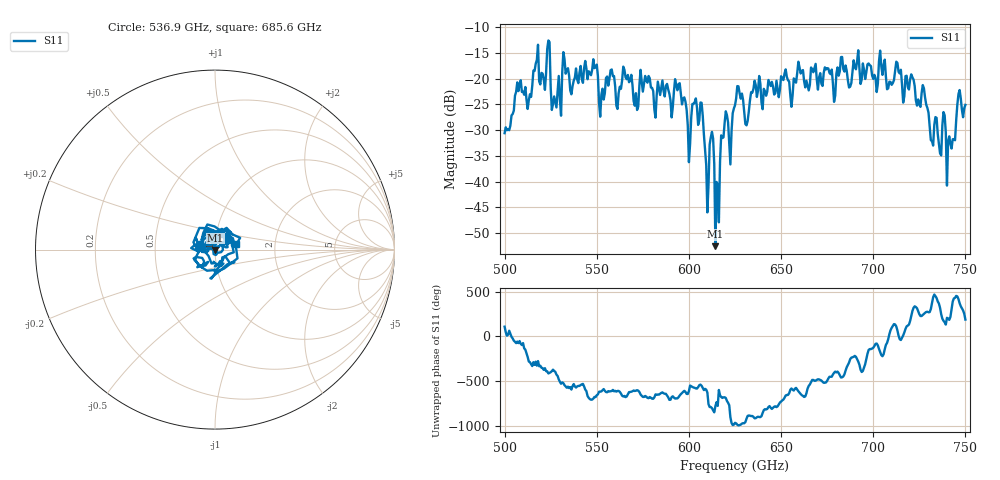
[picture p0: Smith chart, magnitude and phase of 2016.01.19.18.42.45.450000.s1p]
!Created with skrf (http://scikit-rf.org).
# GHz S RI R 50.0
!freq ReS11 ImS11
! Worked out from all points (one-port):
!   401 points, 500 GHz to 750 GHz, reference 50 ohm
!   lowest |S11| = -52.6 dB at 614.4 GHz (marker M1), VSWR 1.00, Z = 50.1 - j0.198 ohm
!   |S11| at or under -10 dB: start of sweep to end of sweep
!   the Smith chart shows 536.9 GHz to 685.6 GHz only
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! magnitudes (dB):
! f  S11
! 500 GHz  -30.6
! 507.5 GHz  -22.4
! 513.1 GHz  -24.2
! 516.9 GHz  -17.1
! 523.8 GHz  -12.6
! 526.9 GHz  -23.4
! 531.2 GHz  -18.8
! 548.8 GHz  -17.9
! 552.5 GHz  -23.1
! 562.5 GHz  -21.6
! 593.8 GHz  -22.2
! 600 GHz  -36.2
! 603.1 GHz  -24.6
! 606.9 GHz  -24.7
! 609.4 GHz  -36.7
! 612.5 GHz  -30.3
! 614.4 GHz  -52.6
! 615.6 GHz  -40.7
! 618.8 GHz  -31.4
! 622.5 GHz  -36.7
! 625 GHz  -25.2
! 656.2 GHz  -23.2
! 660.6 GHz  -19.0
! 687.5 GHz  -21.5
! 718.8 GHz  -21.6
! 741.2 GHz  -31.2
! 746.2 GHz  -23.0
! 750 GHz  -25.1
